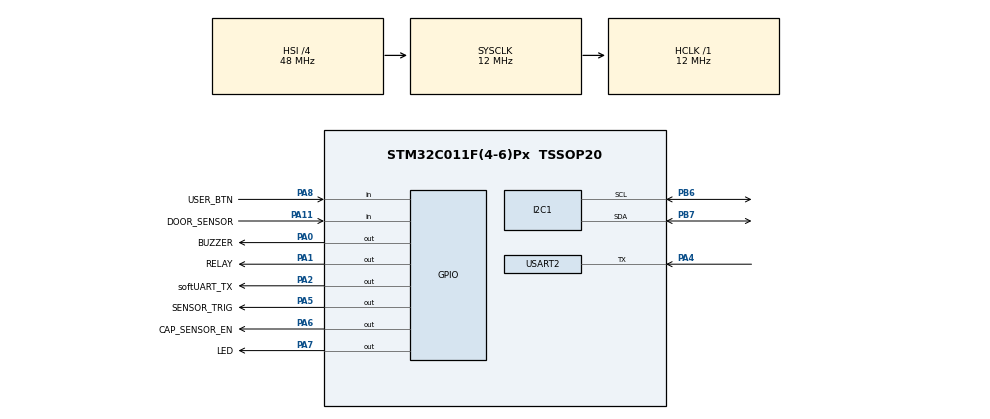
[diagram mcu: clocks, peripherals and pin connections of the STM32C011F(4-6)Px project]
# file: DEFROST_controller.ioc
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I2C1.Timing=0x00402D41
IWDG.Prescaler=IWDG_PRESCALER_128
Mcu.Family=STM32C0
Mcu.Name=STM32C011F(4-6)Px
Mcu.Package=TSSOP20
PA0.GPIO_Label=BUZZER
PA0.Signal=GPIO_Output
PA1.GPIO_Label=RELAY
PA1.Signal=GPIO_Output
PA11\ [PA9].GPIO_Label=DOOR_SENSOR
PA11\ [PA9].Signal=GPIO_Input
PA13.Mode=Serial_Wire
PA13.Signal=DEBUG_SWDIO
PA14-BOOT0.Mode=Serial_Wire
PA14-BOOT0.Signal=DEBUG_SWCLK
PA2.GPIO_Label=softUART_TX
PA2.Signal=GPIO_Output
PA4.Mode=Half_duplex(single_wire_mode)
PA4.Signal=USART2_TX
PA5.GPIO_Label=SENSOR_TRIG
PA5.GPIO_ModeDefaultOutputPP=GPIO_MODE_OUTPUT_OD
PA5.GPIO_PuPd=GPIO_NOPULL
PA5.PinState=GPIO_PIN_SET
PA5.Signal=GPIO_Output
PA6.GPIO_Label=CAP_SENSOR_EN
PA6.Signal=GPIO_Output
PA7.GPIO_Label=LED
PA7.Signal=GPIO_Output
PA8.GPIO_Label=USER_BTN
PA8.GPIO_PuPd=GPIO_PULLUP
PA8.Signal=GPIO_Input
PB6.Mode=I2C
PB6.Signal=I2C1_SCL
PB7.Mode=I2C
PB7.Signal=I2C1_SDA
ProjectManager.HeapSize=0x200
ProjectManager.StackSize=0x400
ProjectManager.TargetToolchain=STM32CubeIDE
RCC.ADCFreq_Value=12000000
RCC.AHBFreq_Value=12000000
RCC.CortexFreq_Value=12000000
RCC.EXTERNAL_CLOCK_VALUE=12288000
RCC.HCLKFreq_Value=12000000
RCC.HSE_VALUE=12000000
RCC.HSIDiv=RCC_HSI_DIV4
RCC.HSI_VALUE=48000000
RCC.LSE_VALUE=32768
RCC.SYSCLKFreq_VALUE=12000000
RCC.SYSCLKSource=RCC_SYSCLKSOURCE_HSI
USART2.BaudRate=9600
USART2.Mode=MODE_RX
USART2.VirtualMode-Half_duplex(single_wire_mode)=VM_ASYNC
VP_IWDG_VS_IWDG.Mode=IWDG_Activate
board=custom

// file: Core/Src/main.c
/* USER CODE BEGIN Header */
/**
  ******************************************************************************
  * @file           : main.c
  * @brief          : Main program body
  ******************************************************************************
  * @attention
  *
  * Copyright (c) 2026 STMicroelectronics.
  * All rights reserved.
  *
  * This software is licensed under terms that can be found in the LICENSE file
  * in the root directory of this software component.
  * If no LICENSE file comes with this software, it is provided AS-IS.
  *
  ******************************************************************************
  */
/* USER CODE END Header */
#include "main.h"

/* USER CODE BEGIN Includes */
#include "defrost_config.h"
#include "measurement_logger.h"
#include "sensor_reader.h"

/* USER CODE END Includes */

I2C_HandleTypeDef hi2c1;

IWDG_HandleTypeDef hiwdg;

UART_HandleTypeDef huart2;

/* USER CODE BEGIN PV */
static uint32_t measurement_sequence_number;
static uint32_t next_measurement_tick;
static uint8_t consecutive_sensor_failures;

/* USER CODE END PV */

void SystemClock_Config(void);
static void MX_GPIO_Init(void);
static void MX_I2C1_Init(void);
static void MX_USART2_UART_Init(void);
static void MX_IWDG_Init(void);

int main(void)
{

  /* MCU Configuration--------------------------------------------------------*/

  /* Reset of all peripherals, Initializes the Flash interface and the Systick. */
  HAL_Init();

  /* Configure the system clock */
  SystemClock_Config();

  /* Initialize all configured peripherals */
  MX_GPIO_Init();
  MX_I2C1_Init();
  MX_USART2_UART_Init();
  MX_IWDG_Init();
  /* USER CODE BEGIN 2 */
  /* Measurement-only phase: the relay is never energized by this firmware. */
  HAL_GPIO_WritePin(RELAY_GPIO_Port, RELAY_Pin, GPIO_PIN_RESET);
  MeasurementLogger_Initialize();
  MeasurementLogger_WriteHeader();
  measurement_sequence_number = 0U;
  consecutive_sensor_failures = 0U;
  next_measurement_tick = HAL_GetTick();

  /* USER CODE END 2 */

  /* Infinite loop */
  while (1)
  {

    /* USER CODE BEGIN 3 */
    uint32_t current_tick = HAL_GetTick();

    HAL_IWDG_Refresh(&hiwdg);

    if ((int32_t)(current_tick - next_measurement_tick) >= 0)
    {
      SensorReaderResult sensor_result;
      MeasurementLoggerControllerContext log_context;
      uint32_t acquisition_start_tick = current_tick;

      bool sensor_valid = SensorReader_Acquire(
          &huart2,
          &hiwdg,
          DEFROST_CFG_NORMAL_ATTEMPTS_PER_ACQUISITION,
          &sensor_result);

      if (sensor_valid)
      {
        consecutive_sensor_failures = 0U;
      }
      else if (consecutive_sensor_failures < UINT8_MAX)
      {
        ++consecutive_sensor_failures;
      }

      log_context.controller_state = "MEASUREMENT_ONLY";
      log_context.event = "NONE";
      log_context.defrost_active = false;
      log_context.relay_energized =
          ((RELAY_GPIO_Port->ODR & RELAY_Pin) != 0U);
      log_context.cold_exposure_cdegc_seconds = 0U;
      log_context.session_elapsed_milliseconds = 0U;
      log_context.above_upper_band_milliseconds = 0U;
      log_context.lockout_remaining_milliseconds = 0U;
      log_context.consecutive_sensor_failures = consecutive_sensor_failures;

      MeasurementLogger_WriteResult(acquisition_start_tick,
                                    measurement_sequence_number,
                                    &log_context,
                                    &sensor_result);
      ++measurement_sequence_number;

      do
      {
        next_measurement_tick += DEFROST_CFG_SAMPLE_INTERVAL_MS;
      } while ((int32_t)(HAL_GetTick() - next_measurement_tick) >= 0);
    }

    HAL_Delay(1U);
  }
  /* USER CODE END 3 */
}

void SystemClock_Config(void)
{
  RCC_OscInitTypeDef RCC_OscInitStruct = {0};
  RCC_ClkInitTypeDef RCC_ClkInitStruct = {0};

  __HAL_FLASH_SET_LATENCY(FLASH_LATENCY_0);

  /** Initializes the RCC Oscillators according to the specified parameters
  * in the RCC_OscInitTypeDef structure.
  */
  RCC_OscInitStruct.OscillatorType = RCC_OSCILLATORTYPE_LSI|RCC_OSCILLATORTYPE_HSI;
  RCC_OscInitStruct.HSIState = RCC_HSI_ON;
  RCC_OscInitStruct.HSIDiv = RCC_HSI_DIV4;
  RCC_OscInitStruct.HSICalibrationValue = RCC_HSICALIBRATION_DEFAULT;
  RCC_OscInitStruct.LSIState = RCC_LSI_ON;
  if (HAL_RCC_OscConfig(&RCC_OscInitStruct) != HAL_OK)
  {
    Error_Handler();
  }

  /** Initializes the CPU, AHB and APB buses clocks
  */
  RCC_ClkInitStruct.ClockType = RCC_CLOCKTYPE_HCLK|RCC_CLOCKTYPE_SYSCLK
                              |RCC_CLOCKTYPE_PCLK1;
  RCC_ClkInitStruct.SYSCLKSource = RCC_SYSCLKSOURCE_HSI;
  RCC_ClkInitStruct.SYSCLKDivider = RCC_SYSCLK_DIV1;
  RCC_ClkInitStruct.AHBCLKDivider = RCC_HCLK_DIV1;
  RCC_ClkInitStruct.APB1CLKDivider = RCC_APB1_DIV1;

  if (HAL_RCC_ClockConfig(&RCC_ClkInitStruct, FLASH_LATENCY_0) != HAL_OK)
  {
    Error_Handler();
  }
}

static void MX_I2C1_Init(void)
{

  hi2c1.Instance = I2C1;
  hi2c1.Init.Timing = 0x00402D41;
  hi2c1.Init.OwnAddress1 = 0;
  hi2c1.Init.AddressingMode = I2C_ADDRESSINGMODE_7BIT;
  hi2c1.Init.DualAddressMode = I2C_DUALADDRESS_DISABLE;
  hi2c1.Init.OwnAddress2 = 0;
  hi2c1.Init.OwnAddress2Masks = I2C_OA2_NOMASK;
  hi2c1.Init.GeneralCallMode = I2C_GENERALCALL_DISABLE;
  hi2c1.Init.NoStretchMode = I2C_NOSTRETCH_DISABLE;
  if (HAL_I2C_Init(&hi2c1) != HAL_OK)
  {
    Error_Handler();
  }

  /** Configure Analogue filter
  */
  if (HAL_I2CEx_ConfigAnalogFilter(&hi2c1, I2C_ANALOGFILTER_ENABLE) != HAL_OK)
  {
    Error_Handler();
  }

  /** Configure Digital filter
  */
  if (HAL_I2CEx_ConfigDigitalFilter(&hi2c1, 0) != HAL_OK)
  {
    Error_Handler();
  }

}

static void MX_IWDG_Init(void)
{

  hiwdg.Instance = IWDG;
  hiwdg.Init.Prescaler = IWDG_PRESCALER_128;
  hiwdg.Init.Window = 4095;
  hiwdg.Init.Reload = 4095;
  if (HAL_IWDG_Init(&hiwdg) != HAL_OK)
  {
    Error_Handler();
  }

}

static void MX_USART2_UART_Init(void)
{

  huart2.Instance = USART2;
  huart2.Init.BaudRate = 9600;
  huart2.Init.WordLength = UART_WORDLENGTH_8B;
  huart2.Init.StopBits = UART_STOPBITS_1;
  huart2.Init.Parity = UART_PARITY_NONE;
  huart2.Init.Mode = UART_MODE_RX;
  huart2.Init.HwFlowCtl = UART_HWCONTROL_NONE;
  huart2.Init.OverSampling = UART_OVERSAMPLING_16;
  huart2.Init.OneBitSampling = UART_ONE_BIT_SAMPLE_DISABLE;
  huart2.Init.ClockPrescaler = UART_PRESCALER_DIV1;
  huart2.AdvancedInit.AdvFeatureInit = UART_ADVFEATURE_NO_INIT;
  if (HAL_HalfDuplex_Init(&huart2) != HAL_OK)
  {
    Error_Handler();
  }

}

static void MX_GPIO_Init(void)
{
  GPIO_InitTypeDef GPIO_InitStruct = {0};

  /* GPIO Ports Clock Enable */
  __HAL_RCC_GPIOB_CLK_ENABLE();
  __HAL_RCC_GPIOC_CLK_ENABLE();
  __HAL_RCC_GPIOA_CLK_ENABLE();

  /*Configure GPIO pin Output Level */
  HAL_GPIO_WritePin(GPIOA, BUZZER_Pin|RELAY_Pin|softUART_TX_Pin|CAP_SENSOR_EN_Pin
                          |LED_Pin, GPIO_PIN_RESET);

  /*Configure GPIO pin Output Level */
  HAL_GPIO_WritePin(SENSOR_TRIG_GPIO_Port, SENSOR_TRIG_Pin, GPIO_PIN_SET);

  /*Configure GPIO pins : BUZZER_Pin RELAY_Pin softUART_TX_Pin CAP_SENSOR_EN_Pin
                           LED_Pin */
  GPIO_InitStruct.Pin = BUZZER_Pin|RELAY_Pin|softUART_TX_Pin|CAP_SENSOR_EN_Pin
                          |LED_Pin;
  GPIO_InitStruct.Mode = GPIO_MODE_OUTPUT_PP;
  GPIO_InitStruct.Pull = GPIO_NOPULL;
  GPIO_InitStruct.Speed = GPIO_SPEED_FREQ_LOW;
  HAL_GPIO_Init(GPIOA, &GPIO_InitStruct);

  /*Configure GPIO pin : SENSOR_TRIG_Pin */
  GPIO_InitStruct.Pin = SENSOR_TRIG_Pin;
  GPIO_InitStruct.Mode = GPIO_MODE_OUTPUT_OD;
  GPIO_InitStruct.Pull = GPIO_NOPULL;
  GPIO_InitStruct.Speed = GPIO_SPEED_FREQ_LOW;
  HAL_GPIO_Init(SENSOR_TRIG_GPIO_Port, &GPIO_InitStruct);

  /*Configure GPIO pin : USER_BTN_Pin */
  GPIO_InitStruct.Pin = USER_BTN_Pin;
  GPIO_InitStruct.Mode = GPIO_MODE_INPUT;
  GPIO_InitStruct.Pull = GPIO_PULLUP;
  HAL_GPIO_Init(USER_BTN_GPIO_Port, &GPIO_InitStruct);

  /*Configure GPIO pin : DOOR_SENSOR_Pin */
  GPIO_InitStruct.Pin = DOOR_SENSOR_Pin;
  GPIO_InitStruct.Mode = GPIO_MODE_INPUT;
  GPIO_InitStruct.Pull = GPIO_NOPULL;
  HAL_GPIO_Init(DOOR_SENSOR_GPIO_Port, &GPIO_InitStruct);

}

void Error_Handler(void)
{
  __disable_irq();
  while (1)
  {
  }
}
